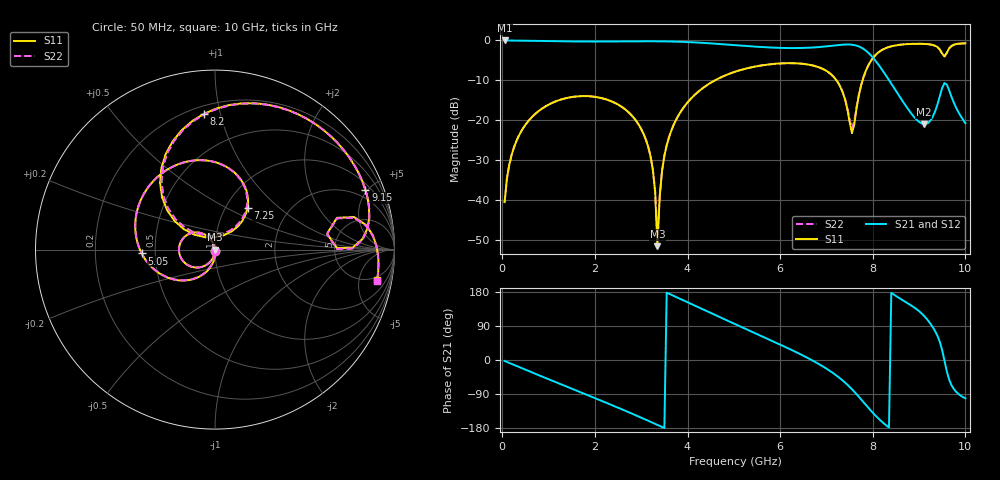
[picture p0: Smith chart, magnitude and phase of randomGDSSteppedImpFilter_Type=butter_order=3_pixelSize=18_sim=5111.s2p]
! freq	dB(S11)	phase(S11)	dB(S12)	phase(S12)
!  dB(S21)	phase(S21)	dB(S22)	phase(S22)
!S-par simulation data
#  GHz  S  DB  R 50
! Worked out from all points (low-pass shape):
!   200 points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, 50 MHz to 10 GHz, reference 50 ohm
!   highest |S21| = 0.00 dB at 50 MHz (marker M1); lowest = -21.0 dB at 9.1 GHz (marker M2)
!   |S21| within 3 dB of the highest: start of sweep to 7.896 GHz
!   lowest |S11| = -51.6 dB at 3.35 GHz (marker M3), VSWR 1.01, Z = 49.8 - j0.107 ohm
!   |S11| at or under -10 dB: start of sweep to 4.593 GHz; 7.215 GHz to 7.781 GHz (565.8 MHz wide, 7.55 % of centre)
!   |S22| runs from -48.8 to -0.7 dB; largest |S21 - S12| = 0
!   S11 on the Smith chart (normalised r, x): 50 MHz: 1.00, -0.02; 5.05 GHz: 0.42, -0.02; 7.25 GHz: 1.26, +0.64; 8.2 GHz: 0.25, +0.89; 9.15 GHz: 1.37, +4.86; 10 GHz: 4.06, -8.93
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0.05  -40.53 -92.9  -0.00 -2.6  -0.00 -2.6  -40.54 -92.9
0.2  -28.75 -101.0  -0.02 -10.3  -0.02 -10.3  -28.77 -101.0
0.5  -21.15 -116.2  -0.06 -25.6  -0.06 -25.6  -21.14 -116.2
1.75  -13.95 -179.0  -0.28 -88.1  -0.28 -88.1  -13.94 -178.8
3  -22.22 117.2  -0.21 -152.2  -0.21 -152.2  -22.21 118.4
3.25  -32.30 104.3  -0.21 -165.7  -0.21 -165.7  -32.26 108.7
3.3  -37.91 102.5  -0.21 -168.5  -0.21 -168.5  -37.75 111.1
3.35  -51.58 -155.9  -0.22 -171.2  -0.22 -171.2  -48.80 -177.1
3.4  -39.09 -87.1  -0.22 -174.0  -0.22 -174.0  -38.92 -97.7
3.55  -26.29 -93.6  -0.25 177.7  -0.25 177.7  -26.29 -96.0
3.85  -17.93 -110.1  -0.34 160.9  -0.34 160.9  -17.93 -111.0
5.05  -7.76 -177.0  -1.21 93.5  -1.21 93.5  -7.76 -177.2
6.7  -6.27 89.4  -1.78 -1.4  -1.78 -1.4  -6.26 89.7
7.25  -10.59 52.1  -1.16 -44.2  -1.16 -44.2  -10.56 53.3
7.55  -23.25 89.3  -1.07 -77.1  -1.07 -77.1  -22.10 90.5
7.8  -9.23 140.5  -2.13 -111.3  -2.13 -111.3  -9.16 138.6
8.2  -2.39 94.5  -7.32 -163.3  -7.32 -163.3  -2.38 93.7
8.35  -1.64 79.6  -9.93 -178.2  -9.93 -178.2  -1.63 79.0
9.1  -0.87 24.9  -20.98 117.4  -20.98 117.4  -0.87 24.5
9.15  -0.90 21.6  -20.95 110.6  -20.95 110.6  -0.90 21.2
9.55  -4.00 8.1  -10.68 -2.7  -10.68 -2.7  -4.01 7.7
10  -0.73 -10.6  -20.78 -101.2  -20.78 -101.2  -0.73 -11.0
